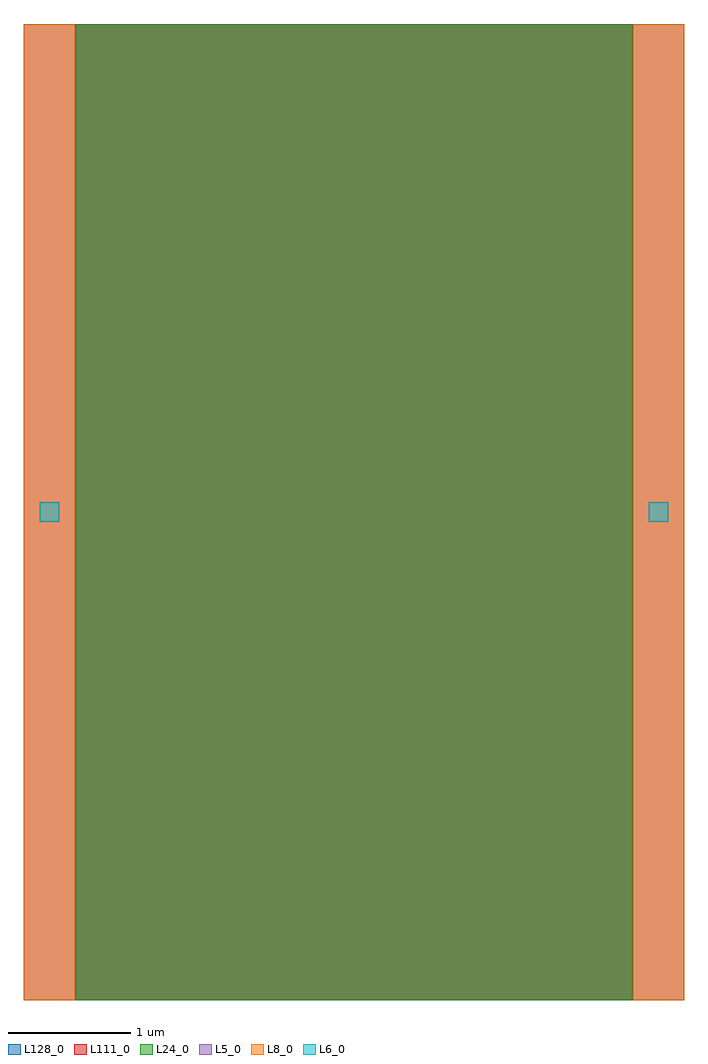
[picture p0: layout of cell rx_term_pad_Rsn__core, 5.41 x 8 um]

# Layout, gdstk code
import gdstk
lib = gdstk.Library(unit=1e-6, precision=1e-09)
def R(c, l, rs):  # rectangles x0, y0, x1, y1
    for r in rs: c.add(gdstk.rectangle(r[:2], r[2:], *l))
L5_0 = (5, 0)
L6_0 = (6, 0)
L8_0 = (8, 0)
L24_0 = (24, 0)
L111_0 = (111, 0)
L128_0 = (128, 0)

rx_term_pad_rsn__core = lib.new_cell('rx_term_pad_Rsn__core')
R(rx_term_pad_rsn__core, L5_0, [(0,0,0.42,8), (4.991,0,5.411,8)])
R(rx_term_pad_rsn__core, L6_0, [(0.13,3.92,0.29,4.08), (5.121,3.92,5.281,4.08)])
R(rx_term_pad_rsn__core, L8_0, [(0,0,0.42,8), (4.991,0,5.411,8)])
R(rx_term_pad_rsn__core, L24_0, [(0.42,0,4.991,8)])
R(rx_term_pad_rsn__core, L111_0, [(0.42,0,4.991,8)])
R(rx_term_pad_rsn__core, L128_0, [(0.42,0,4.991,8)])

lib.write_gds('rx_term_pad_Rsn__core.gds')
